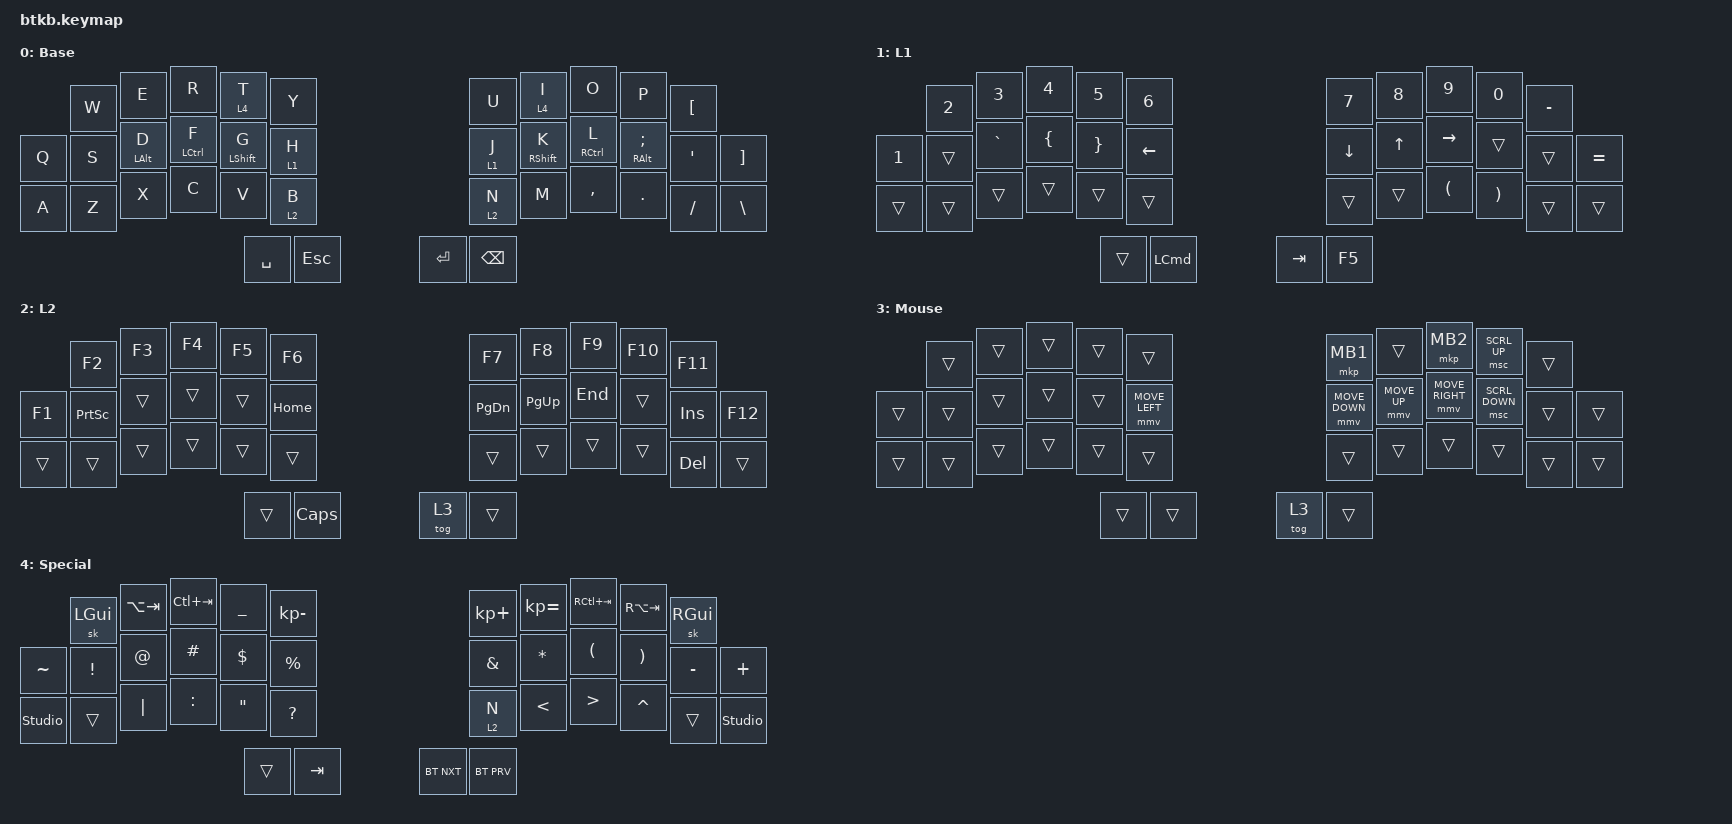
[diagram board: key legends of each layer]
#include <behaviors.dtsi>
#include <dt-bindings/zmk/bt.h>
#include <dt-bindings/zmk/keys.h>
#include <dt-bindings/zmk/pointing.h>

&lt { flavor = "hold-preferred"; };

/ {
    keymap {
        compatible = "zmk,keymap";

        default_layer {
            display-name = "Base";
            bindings = <
&kp W  &kp E  &kp R  &lt 4 T  &kp Y  &kp U  &lt 4 I  &kp O  &kp P  &kp LBKT  &kp Q  &kp S  &mt LALT D  &mt LCTRL F  &mt LSHIFT G  &lt 1 H  &lt 1 J  &mt RSHIFT K  &mt RCTRL L  &mt RALT SEMI  &kp SQT  &kp RBKT  &kp A  &kp Z  &kp X  &kp C  &kp V  &lt 2 B  &lt 2 N  &kp M  &kp COMMA  &kp DOT  &kp SLASH  &kp BSLH  &kp SPACE  &kp ESCAPE  &kp ENTER  &kp BSPC
            >;
        };

        l1 {
            display-name = "L1";
            bindings = <
&kp N2  &kp N3  &kp N4  &kp N5  &kp N6  &kp N7  &kp N8  &kp N9  &kp N0  &kp MINUS  &kp N1  &trans  &kp GRAVE  &kp LBRC  &kp RBRC  &kp LEFT  &kp DOWN  &kp UP  &kp RIGHT  &trans  &trans  &kp EQUAL  &trans  &trans  &trans  &trans  &trans  &trans  &trans  &trans  &kp LPAR  &kp RPAR  &trans  &trans  &trans  &kp LCMD  &kp TAB  &kp F5
            >;
        };

        l2 {
            display-name = "L2";
            bindings = <
&kp F2  &kp F3  &kp F4  &kp F5  &kp F6  &kp F7  &kp F8  &kp F9  &kp F10  &kp F11  &kp F1  &kp PSCRN  &trans  &trans  &trans  &kp HOME  &kp PG_DN  &kp PG_UP  &kp END  &trans  &kp INS  &kp F12  &trans  &trans  &trans  &trans  &trans  &trans  &trans  &trans  &trans  &trans  &kp DEL  &trans  &trans  &kp CAPS  &tog 3  &trans
            >;
        };

        mouse {
            display-name = "Mouse";
            bindings = <
&trans  &trans  &trans  &trans  &trans  &mkp MB1  &trans  &mkp MB2  &msc SCRL_UP  &trans  &trans  &trans  &trans  &trans  &trans  &mmv MOVE_LEFT  &mmv MOVE_DOWN  &mmv MOVE_UP  &mmv MOVE_RIGHT  &msc SCRL_DOWN  &trans  &trans  &trans  &trans  &trans  &trans  &trans  &trans  &trans  &trans  &trans  &trans  &trans  &trans  &trans  &trans  &tog 3  &trans
            >;
        };

        special {
            display-name = "Special";
            bindings = <
&sk LGUI  &kp LA(TAB)  &kp LC(TAB)  &kp UNDER  &kp KP_MINUS  &kp KP_PLUS  &kp KP_EQUAL  &kp RC(TAB)  &kp RA(TAB)  &sk RGUI  &kp TILDE  &kp EXCL  &kp AT  &kp HASH  &kp DLLR  &kp PRCNT  &kp AMPS  &kp STAR  &kp LPAR  &kp RPAR  &kp MINUS  &kp PLUS  &studio_unlock  &trans  &kp PIPE  &kp COLON  &kp DQT  &kp QMARK  &lt 2 N  &kp LT  &kp GT  &kp CARET  &trans  &studio_unlock  &trans  &kp TAB  &bt BT_NXT  &bt BT_PRV
            >;
        };
    };
};
